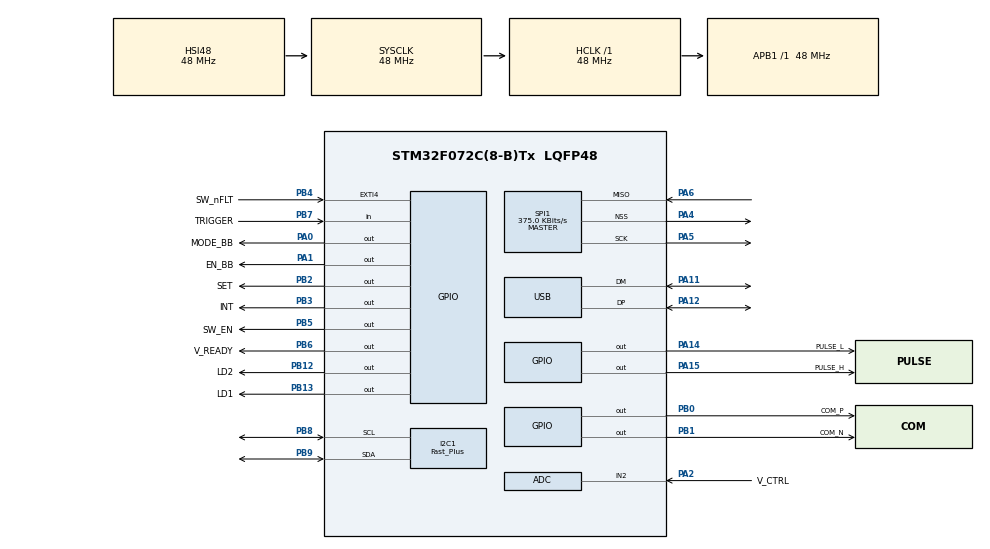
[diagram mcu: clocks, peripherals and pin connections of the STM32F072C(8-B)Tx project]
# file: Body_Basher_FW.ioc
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ADC.ContinuousConvMode=ENABLE
ADC.DMAContinuousRequests=DISABLE
ADC.Overrun=ADC_OVR_DATA_PRESERVED
ADC.Resolution=ADC_RESOLUTION_12B
ADC.SamplingTime=ADC_SAMPLETIME_7CYCLES_5
Dma.ADC.0.Direction=DMA_PERIPH_TO_MEMORY
Dma.ADC.0.Instance=DMA1_Channel1
Dma.ADC.0.MemDataAlignment=DMA_MDATAALIGN_HALFWORD
Dma.ADC.0.MemInc=DMA_MINC_ENABLE
Dma.ADC.0.Mode=DMA_CIRCULAR
Dma.ADC.0.PeriphDataAlignment=DMA_PDATAALIGN_HALFWORD
Dma.ADC.0.PeriphInc=DMA_PINC_DISABLE
Dma.ADC.0.Priority=DMA_PRIORITY_MEDIUM
Dma.Request0=ADC
I2C1.I2C_Speed_Mode=I2C_Fast_Plus
I2C1.Timing=0x00000001
Mcu.Family=STM32F0
Mcu.Name=STM32F072C(8-B)Tx
Mcu.Package=LQFP48
NVIC.DMA1_Channel1_IRQn=true\:0\:0\:false\:false\:true\:false\:true\:true
NVIC.EXTI4_15_IRQn=true\:0\:0\:false\:false\:true\:true\:true\:true
NVIC.TIM2_IRQn=true\:0\:0\:false\:false\:true\:true\:true\:true
NVIC.TIM3_IRQn=true\:0\:0\:false\:false\:true\:true\:true\:true
NVIC.USB_IRQn=true\:0\:0\:false\:false\:true\:false\:true\:true
PA0.GPIO_Label=MODE_BB
PA0.Signal=GPIO_Output
PA1.GPIO_Label=EN_BB
PA1.PinState=GPIO_PIN_SET
PA1.Signal=GPIO_Output
PA11.Mode=Device
PA11.Signal=USB_DM
PA12.Mode=Device
PA12.Signal=USB_DP
PA14.GPIO_Label=PULSE_L
PA14.GPIO_ModeDefaultOutputPP=GPIO_MODE_OUTPUT_OD
PA14.GPIO_PuPd=GPIO_NOPULL
PA14.GPIO_Speed=GPIO_SPEED_FREQ_HIGH
PA14.PinState=GPIO_PIN_SET
PA14.Signal=GPIO_Output
PA15.GPIO_Label=PULSE_H
PA15.GPIO_ModeDefaultOutputPP=GPIO_MODE_OUTPUT_OD
PA15.GPIO_PuPd=GPIO_NOPULL
PA15.GPIO_Speed=GPIO_SPEED_FREQ_HIGH
PA15.PinState=GPIO_PIN_SET
PA15.Signal=GPIO_Output
PA2.GPIO_Label=V_CTRL
PA2.Mode=IN2
PA2.Signal=ADC_IN2
PA4.Mode=NSS_Signal_Hard_Output
PA4.Signal=SPI1_NSS
PA5.Mode=RX_Only_Simplex_Unidirect_Master
PA5.Signal=SPI1_SCK
PA6.Mode=RX_Only_Simplex_Unidirect_Master
PA6.Signal=SPI1_MISO
PB0.GPIO_Label=COM_P
PB0.GPIO_ModeDefaultOutputPP=GPIO_MODE_OUTPUT_PP
PB0.GPIO_PuPd=GPIO_NOPULL
PB0.GPIO_Speed=GPIO_SPEED_FREQ_HIGH
PB0.PinState=GPIO_PIN_RESET
PB0.Signal=GPIO_Output
PB1.GPIO_Label=COM_N
PB1.GPIO_ModeDefaultOutputPP=GPIO_MODE_OUTPUT_PP
PB1.GPIO_PuPd=GPIO_NOPULL
PB1.GPIO_Speed=GPIO_SPEED_FREQ_HIGH
PB1.Signal=GPIO_Output
PB12.GPIO_Label=LD2
PB12.Signal=GPIO_Output
PB13.GPIO_Label=LD1
PB13.Signal=GPIO_Output
PB2.GPIO_Label=SET
PB2.GPIO_Speed=GPIO_SPEED_FREQ_HIGH
PB2.Signal=GPIO_Output
PB3.GPIO_Label=INT
PB3.GPIO_PuPd=GPIO_PULLDOWN
PB3.PinState=GPIO_PIN_RESET
PB3.Signal=GPIO_Output
PB4.GPIO_Label=SW_nFLT
PB4.GPIO_ModeDefaultEXTI=GPIO_MODE_IT_FALLING
PB4.Signal=GPXTI4
PB5.GPIO_Label=SW_EN
PB5.PinState=GPIO_PIN_SET
PB5.Signal=GPIO_Output
PB6.GPIO_FM6=SYSCFG_CFGR1_I2C_FMP_PB6
PB6.GPIO_Label=V_READY
PB6.GPIO_Speed=GPIO_SPEED_FREQ_HIGH
PB6.Signal=GPIO_Output
PB7.GPIO_Label=TRIGGER
PB7.Signal=GPIO_Input
PB8.Mode=I2C
PB8.Signal=I2C1_SCL
PB9.Mode=I2C
PB9.Signal=I2C1_SDA
ProjectManager.HeapSize=0x200
ProjectManager.StackSize=0x400
ProjectManager.TargetToolchain=STM32CubeIDE
RCC.AHBFreq_Value=48000000
RCC.APB1Freq_Value=48000000
RCC.APB1TimFreq_Value=48000000
RCC.HCLKFreq_Value=48000000
RCC.SYSCLKFreq_VALUE=48000000
RCC.SYSCLKSource=RCC_SYSCLKSOURCE_HSI48
SPI1.BaudRatePrescaler=SPI_BAUDRATEPRESCALER_128
SPI1.CalculateBaudRate=375.0 KBits/s
SPI1.DataSize=SPI_DATASIZE_16BIT
SPI1.Direction=SPI_DIRECTION_2LINES_RXONLY
SPI1.Mode=SPI_MODE_MASTER
SPI1.NSSPMode=SPI_NSS_PULSE_ENABLE
SPI1.VirtualNSS=VM_NSSHARD
SPI1.VirtualType=VM_MASTER
TIM2.ClockDivision=TIM_CLOCKDIVISION_DIV4
TIM2.Period=1000
TIM2.Prescaler=48
TIM2.TIM_MasterOutputTrigger=TIM_TRGO_UPDATE
TIM3.Period=5000
TIM3.Prescaler=47999
TIM3.TIM_MasterOutputTrigger=TIM_TRGO_UPDATE
USB_DEVICE.APP_RX_DATA_SIZE=512
USB_DEVICE.APP_TX_DATA_SIZE=512
USB_DEVICE.CLASS_NAME_FS=CDC
USB_DEVICE.MANUFACTURER_STRING=COSIC - KUL
USB_DEVICE.PID_CDC_FS=0x0e11
USB_DEVICE.PRODUCT_STRING_CDC_FS=COSIC Body Basher
USB_DEVICE.VID=0x1ab1
USB_DEVICE.VirtualMode=Cdc
USB_DEVICE.VirtualModeFS=Cdc_FS
VP_TIM2_VS_ClockSourceINT.Mode=Internal
VP_TIM3_VS_ClockSourceINT.Mode=Internal
VP_USB_DEVICE_VS_USB_DEVICE_CDC_FS.Mode=CDC_FS
VP_WWDG_VS_WWDG.Mode=WWDG_Activate
WWDG.Counter=0x7f
WWDG.EWIMode=WWDG_EWI_ENABLE
WWDG.Prescaler=WWDG_PRESCALER_8
WWDG.Window=0x7f
board=custom

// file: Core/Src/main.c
/* USER CODE BEGIN Header */
/**
 ******************************************************************************
 * @file           : main.c
 * @brief          : Main program body
 ******************************************************************************
 * @attention
 *
 * Copyright (c) 2024 STMicroelectronics.
 * All rights reserved.
 *
 * This software is licensed under terms that can be found in the LICENSE file
 * in the root directory of this software component.
 * If no LICENSE file comes with this software, it is provided AS-IS.
 *
 ******************************************************************************
 */
/* USER CODE END Header */
#include "main.h"
#include "usb_device.h"

/* USER CODE BEGIN Includes */
#include "usbd_cdc_if.h"
#include "terminal.h"
#include "fsm.h"
#include "utils.h"
/* USER CODE END Includes */

ADC_HandleTypeDef hadc;
DMA_HandleTypeDef hdma_adc;

I2C_HandleTypeDef hi2c1;

SPI_HandleTypeDef hspi1;

TIM_HandleTypeDef htim2;
TIM_HandleTypeDef htim3;

WWDG_HandleTypeDef hwwdg;

void SystemClock_Config(void);
static void MX_GPIO_Init(void);
static void MX_DMA_Init(void);
static void MX_ADC_Init(void);
static void MX_I2C1_Init(void);
static void MX_SPI1_Init(void);
static void MX_TIM3_Init(void);
static void MX_TIM2_Init(void);
static void MX_WWDG_Init(void);

/* USER CODE BEGIN 0 */
STATE state = ST_IDLE;
EVENT event = EV_NULL;
uint8_t errorCode = 0x00;

/* USER CODE END 0 */

int main(void)
{

  /* MCU Configuration--------------------------------------------------------*/

  /* Reset of all peripherals, Initializes the Flash interface and the Systick. */
  HAL_Init();

  /* Configure the system clock */
  SystemClock_Config();

  /* Initialize all configured peripherals */
  MX_GPIO_Init();
  MX_DMA_Init();
  MX_ADC_Init();
  MX_I2C1_Init();
  MX_SPI1_Init();
  MX_USB_DEVICE_Init();
  MX_TIM3_Init();
  MX_TIM2_Init();
//  MX_WWDG_Init();
  /* USER CODE BEGIN 2 */
    HAL_Delay(1000); //wait 1s for everyting to initialise
    toIdle(); //initialise device to idle state
    HAL_ADCEx_Calibration_Start(&hadc); //self-calibration of the on-chip ADC

    HAL_SPI_Receive(&hspi1, NULL, 1, 100); //start field-side ADC to normal mode
  /* USER CODE END 2 */

  /* Infinite loop */
  /* USER CODE BEGIN WHILE */
    MX_WWDG_Init();
    initTerminal(); //initialise terminal and print logo
    printPrompt();  //print first prompt
    while (1)
    {
    /* USER CODE END WHILE */

    /* USER CODE BEGIN 3 */
    	HAL_WWDG_Refresh(&hwwdg);
    	checkTerminal();
        switch (state) {
            case ST_IDLE:
//            	HAL_WWDG_Refresh(&hwwdg);
                //transitions
                switch (event) {
                    case EV_ARM:
//                        printArm();
                        toArming();
                        state = ST_ARMING;
                        break;
                    case EV_ERROR:
                        toError();
                        state = ST_ERROR;
                        break;
                    case EV_NULL:
                        break;
                    default:
                        printInvalid();
                        break;
                }
                break;
            case ST_ARMING:
                //transitions
                switch (event) {
                    case EV_DISARM:
//                        printDisarm();
                        toIdle();
                        state = ST_IDLE;
                        break;
                    case EV_VOLTAGE_READY:
                        toArmed();
                        state = ST_ARMED;
                        break;
                    case EV_ERROR:
//                        printDisarm();
                        toError();
                        state = ST_ERROR;
                        break;
                    case EV_NULL:
                        break;
                    default:
                        printInvalid();
                        break;
                }

                //Disable and reset timers used only in the arming state
                if (state != ST_ARMING){
                    HAL_TIM_Base_Stop_IT(&htim3);
                    __HAL_TIM_SET_COUNTER(&htim3, 0);
                    HAL_TIM_Base_Stop_IT(&htim2);
                    __HAL_TIM_SET_COUNTER(&htim2, 0);
                }
                break;
            case ST_ARMED:
                //transitions
                switch (event) {
                    case EV_ARM:
//                        printArm();
                        toArming();
                        state = ST_ARMING;
                        break;
                    case EV_DISARM:
//                        printDisarm();
                        toIdle();
                        state = ST_IDLE;
                        break;
                    case EV_ERROR:
//                        printDisarm();
                        toError();
                        state = ST_ERROR;
                        break;
                    case EV_NULL:
                        break;
                    default:
                        printInvalid();
                        break;
                }
                break;
//            case ST_INJECTING:
//
//                break;
            case ST_ERROR:
                //transitions
                switch (event) {
                    case EV_CLEAR_ERRROR:
                        toIdle();
                        state = ST_IDLE;
                        break;
                    case EV_NULL:
                        break;
                    case EV_ERROR:
                        toError();
                        state = ST_ERROR;
                        break;
                    default:
                        printInvalid();
                        break;
                }
                break;
            default:

                break;
        }
        event = EV_NULL;

    }
  /* USER CODE END 3 */
}

void SystemClock_Config(void)
{
  RCC_OscInitTypeDef RCC_OscInitStruct = {0};
  RCC_ClkInitTypeDef RCC_ClkInitStruct = {0};
  RCC_PeriphCLKInitTypeDef PeriphClkInit = {0};

  /** Initializes the RCC Oscillators according to the specified parameters
  * in the RCC_OscInitTypeDef structure.
  */
  RCC_OscInitStruct.OscillatorType = RCC_OSCILLATORTYPE_HSI|RCC_OSCILLATORTYPE_HSI14
                              |RCC_OSCILLATORTYPE_HSI48;
  RCC_OscInitStruct.HSIState = RCC_HSI_ON;
  RCC_OscInitStruct.HSI48State = RCC_HSI48_ON;
  RCC_OscInitStruct.HSI14State = RCC_HSI14_ON;
  RCC_OscInitStruct.HSICalibrationValue = RCC_HSICALIBRATION_DEFAULT;
  RCC_OscInitStruct.HSI14CalibrationValue = 16;
  RCC_OscInitStruct.PLL.PLLState = RCC_PLL_NONE;
  if (HAL_RCC_OscConfig(&RCC_OscInitStruct) != HAL_OK)
  {
    Error_Handler();
  }

  /** Initializes the CPU, AHB and APB buses clocks
  */
  RCC_ClkInitStruct.ClockType = RCC_CLOCKTYPE_HCLK|RCC_CLOCKTYPE_SYSCLK
                              |RCC_CLOCKTYPE_PCLK1;
  RCC_ClkInitStruct.SYSCLKSource = RCC_SYSCLKSOURCE_HSI48;
  RCC_ClkInitStruct.AHBCLKDivider = RCC_SYSCLK_DIV1;
  RCC_ClkInitStruct.APB1CLKDivider = RCC_HCLK_DIV1;

  if (HAL_RCC_ClockConfig(&RCC_ClkInitStruct, FLASH_LATENCY_1) != HAL_OK)
  {
    Error_Handler();
  }
  PeriphClkInit.PeriphClockSelection = RCC_PERIPHCLK_USB|RCC_PERIPHCLK_I2C1;
  PeriphClkInit.I2c1ClockSelection = RCC_I2C1CLKSOURCE_HSI;
  PeriphClkInit.UsbClockSelection = RCC_USBCLKSOURCE_HSI48;

  if (HAL_RCCEx_PeriphCLKConfig(&PeriphClkInit) != HAL_OK)
  {
    Error_Handler();
  }
}

static void MX_ADC_Init(void)
{

  ADC_ChannelConfTypeDef sConfig = {0};

  /** Configure the global features of the ADC (Clock, Resolution, Data Alignment and number of conversion)
  */
  hadc.Instance = ADC1;
  hadc.Init.ClockPrescaler = ADC_CLOCK_ASYNC_DIV1;
  hadc.Init.Resolution = ADC_RESOLUTION_12B;
  hadc.Init.DataAlign = ADC_DATAALIGN_RIGHT;
  hadc.Init.ScanConvMode = ADC_SCAN_DIRECTION_FORWARD;
  hadc.Init.EOCSelection = ADC_EOC_SINGLE_CONV;
  hadc.Init.LowPowerAutoWait = DISABLE;
  hadc.Init.LowPowerAutoPowerOff = DISABLE;
  hadc.Init.ContinuousConvMode = ENABLE;
  hadc.Init.DiscontinuousConvMode = DISABLE;
  hadc.Init.ExternalTrigConv = ADC_SOFTWARE_START;
  hadc.Init.ExternalTrigConvEdge = ADC_EXTERNALTRIGCONVEDGE_NONE;
  hadc.Init.DMAContinuousRequests = DISABLE;
  hadc.Init.Overrun = ADC_OVR_DATA_PRESERVED;
  if (HAL_ADC_Init(&hadc) != HAL_OK)
  {
    Error_Handler();
  }

  /** Configure for the selected ADC regular channel to be converted.
  */
  sConfig.Channel = ADC_CHANNEL_2;
  sConfig.Rank = ADC_RANK_CHANNEL_NUMBER;
  sConfig.SamplingTime = ADC_SAMPLETIME_7CYCLES_5;
  if (HAL_ADC_ConfigChannel(&hadc, &sConfig) != HAL_OK)
  {
    Error_Handler();
  }

}

static void MX_I2C1_Init(void)
{

  hi2c1.Instance = I2C1;
  hi2c1.Init.Timing = 0x00000001;
  hi2c1.Init.OwnAddress1 = 0;
  hi2c1.Init.AddressingMode = I2C_ADDRESSINGMODE_7BIT;
  hi2c1.Init.DualAddressMode = I2C_DUALADDRESS_DISABLE;
  hi2c1.Init.OwnAddress2 = 0;
  hi2c1.Init.OwnAddress2Masks = I2C_OA2_NOMASK;
  hi2c1.Init.GeneralCallMode = I2C_GENERALCALL_DISABLE;
  hi2c1.Init.NoStretchMode = I2C_NOSTRETCH_DISABLE;
  if (HAL_I2C_Init(&hi2c1) != HAL_OK)
  {
    Error_Handler();
  }

  /** Configure Analogue filter
  */
  if (HAL_I2CEx_ConfigAnalogFilter(&hi2c1, I2C_ANALOGFILTER_ENABLE) != HAL_OK)
  {
    Error_Handler();
  }

  /** Configure Digital filter
  */
  if (HAL_I2CEx_ConfigDigitalFilter(&hi2c1, 0) != HAL_OK)
  {
    Error_Handler();
  }

  /** I2C Fast mode Plus enable
  */
  __HAL_SYSCFG_FASTMODEPLUS_ENABLE(I2C_FASTMODEPLUS_I2C1);

}

static void MX_SPI1_Init(void)
{

  /* SPI1 parameter configuration*/
  hspi1.Instance = SPI1;
  hspi1.Init.Mode = SPI_MODE_MASTER;
  hspi1.Init.Direction = SPI_DIRECTION_2LINES_RXONLY;
  hspi1.Init.DataSize = SPI_DATASIZE_16BIT;
  hspi1.Init.CLKPolarity = SPI_POLARITY_LOW;
  hspi1.Init.CLKPhase = SPI_PHASE_1EDGE;
  hspi1.Init.NSS = SPI_NSS_HARD_OUTPUT;
  hspi1.Init.BaudRatePrescaler = SPI_BAUDRATEPRESCALER_128;
  hspi1.Init.FirstBit = SPI_FIRSTBIT_MSB;
  hspi1.Init.TIMode = SPI_TIMODE_DISABLE;
  hspi1.Init.CRCCalculation = SPI_CRCCALCULATION_DISABLE;
  hspi1.Init.CRCPolynomial = 7;
  hspi1.Init.CRCLength = SPI_CRC_LENGTH_DATASIZE;
  hspi1.Init.NSSPMode = SPI_NSS_PULSE_ENABLE;
  if (HAL_SPI_Init(&hspi1) != HAL_OK)
  {
    Error_Handler();
  }

}

static void MX_TIM2_Init(void)
{

  TIM_ClockConfigTypeDef sClockSourceConfig = {0};
  TIM_MasterConfigTypeDef sMasterConfig = {0};

  htim2.Instance = TIM2;
  htim2.Init.Prescaler = 48;
  htim2.Init.CounterMode = TIM_COUNTERMODE_UP;
  htim2.Init.Period = 1000;
  htim2.Init.ClockDivision = TIM_CLOCKDIVISION_DIV4;
  htim2.Init.AutoReloadPreload = TIM_AUTORELOAD_PRELOAD_DISABLE;
  if (HAL_TIM_Base_Init(&htim2) != HAL_OK)
  {
    Error_Handler();
  }
  sClockSourceConfig.ClockSource = TIM_CLOCKSOURCE_INTERNAL;
  if (HAL_TIM_ConfigClockSource(&htim2, &sClockSourceConfig) != HAL_OK)
  {
    Error_Handler();
  }
  sMasterConfig.MasterOutputTrigger = TIM_TRGO_UPDATE;
  sMasterConfig.MasterSlaveMode = TIM_MASTERSLAVEMODE_DISABLE;
  if (HAL_TIMEx_MasterConfigSynchronization(&htim2, &sMasterConfig) != HAL_OK)
  {
    Error_Handler();
  }

}

static void MX_TIM3_Init(void)
{

  TIM_ClockConfigTypeDef sClockSourceConfig = {0};
  TIM_MasterConfigTypeDef sMasterConfig = {0};

  htim3.Instance = TIM3;
  htim3.Init.Prescaler = 47999;
  htim3.Init.CounterMode = TIM_COUNTERMODE_UP;
  htim3.Init.Period = 5000;
  htim3.Init.ClockDivision = TIM_CLOCKDIVISION_DIV1;
  htim3.Init.AutoReloadPreload = TIM_AUTORELOAD_PRELOAD_DISABLE;
  if (HAL_TIM_Base_Init(&htim3) != HAL_OK)
  {
    Error_Handler();
  }
  sClockSourceConfig.ClockSource = TIM_CLOCKSOURCE_INTERNAL;
  if (HAL_TIM_ConfigClockSource(&htim3, &sClockSourceConfig) != HAL_OK)
  {
    Error_Handler();
  }
  sMasterConfig.MasterOutputTrigger = TIM_TRGO_UPDATE;
  sMasterConfig.MasterSlaveMode = TIM_MASTERSLAVEMODE_DISABLE;
  if (HAL_TIMEx_MasterConfigSynchronization(&htim3, &sMasterConfig) != HAL_OK)
  {
    Error_Handler();
  }

}

static void MX_WWDG_Init(void)
{

  hwwdg.Instance = WWDG;
  hwwdg.Init.Prescaler = WWDG_PRESCALER_8;
  hwwdg.Init.Window = 0x7f;
  hwwdg.Init.Counter = 0x7f;
  hwwdg.Init.EWIMode = WWDG_EWI_ENABLE;
  if (HAL_WWDG_Init(&hwwdg) != HAL_OK)
  {
    Error_Handler();
  }

}

static void MX_DMA_Init(void)
{

  /* DMA controller clock enable */
  __HAL_RCC_DMA1_CLK_ENABLE();

  /* DMA interrupt init */
  /* DMA1_Channel1_IRQn interrupt configuration */
  HAL_NVIC_SetPriority(DMA1_Channel1_IRQn, 0, 0);
  HAL_NVIC_EnableIRQ(DMA1_Channel1_IRQn);

}

static void MX_GPIO_Init(void)
{
  GPIO_InitTypeDef GPIO_InitStruct = {0};

  /* GPIO Ports Clock Enable */
  __HAL_RCC_GPIOA_CLK_ENABLE();
  __HAL_RCC_GPIOB_CLK_ENABLE();

  /*Configure GPIO pin Output Level */
  HAL_GPIO_WritePin(MODE_BB_GPIO_Port, MODE_BB_Pin, GPIO_PIN_RESET);

  /*Configure GPIO pin Output Level */
  HAL_GPIO_WritePin(GPIOA, EN_BB_Pin|PULSE_L_Pin|PULSE_H_Pin, GPIO_PIN_SET);

  /*Configure GPIO pin Output Level */
  HAL_GPIO_WritePin(GPIOB, COM_P_Pin|COM_N_Pin|SET_Pin|LD2_Pin
                          |LD1_Pin|INT_Pin|V_READY_Pin, GPIO_PIN_RESET);

  /*Configure GPIO pin Output Level */
  HAL_GPIO_WritePin(SW_EN_GPIO_Port, SW_EN_Pin, GPIO_PIN_SET);

  /*Configure GPIO pins : MODE_BB_Pin EN_BB_Pin */
  GPIO_InitStruct.Pin = MODE_BB_Pin|EN_BB_Pin;
  GPIO_InitStruct.Mode = GPIO_MODE_OUTPUT_PP;
  GPIO_InitStruct.Pull = GPIO_NOPULL;
  GPIO_InitStruct.Speed = GPIO_SPEED_FREQ_LOW;
  HAL_GPIO_Init(GPIOA, &GPIO_InitStruct);

  /*Configure GPIO pins : COM_P_Pin COM_N_Pin SET_Pin V_READY_Pin */
  GPIO_InitStruct.Pin = COM_P_Pin|COM_N_Pin|SET_Pin|V_READY_Pin;
  GPIO_InitStruct.Mode = GPIO_MODE_OUTPUT_PP;
  GPIO_InitStruct.Pull = GPIO_NOPULL;
  GPIO_InitStruct.Speed = GPIO_SPEED_FREQ_HIGH;
  HAL_GPIO_Init(GPIOB, &GPIO_InitStruct);

  /*Configure GPIO pins : LD2_Pin LD1_Pin SW_EN_Pin */
  GPIO_InitStruct.Pin = LD2_Pin|LD1_Pin|SW_EN_Pin;
  GPIO_InitStruct.Mode = GPIO_MODE_OUTPUT_PP;
  GPIO_InitStruct.Pull = GPIO_NOPULL;
  GPIO_InitStruct.Speed = GPIO_SPEED_FREQ_LOW;
  HAL_GPIO_Init(GPIOB, &GPIO_InitStruct);

  /*Configure GPIO pins : PULSE_L_Pin PULSE_H_Pin */
  GPIO_InitStruct.Pin = PULSE_L_Pin|PULSE_H_Pin;
  GPIO_InitStruct.Mode = GPIO_MODE_OUTPUT_OD;
  GPIO_InitStruct.Pull = GPIO_NOPULL;
  GPIO_InitStruct.Speed = GPIO_SPEED_FREQ_HIGH;
  HAL_GPIO_Init(GPIOA, &GPIO_InitStruct);

  /*Configure GPIO pin : INT_Pin */
  GPIO_InitStruct.Pin = INT_Pin;
  GPIO_InitStruct.Mode = GPIO_MODE_OUTPUT_PP;
  GPIO_InitStruct.Pull = GPIO_PULLDOWN;
  GPIO_InitStruct.Speed = GPIO_SPEED_FREQ_LOW;
  HAL_GPIO_Init(INT_GPIO_Port, &GPIO_InitStruct);

  /*Configure GPIO pin : SW_nFLT_Pin */
  GPIO_InitStruct.Pin = SW_nFLT_Pin;
  GPIO_InitStruct.Mode = GPIO_MODE_IT_FALLING;
  GPIO_InitStruct.Pull = GPIO_NOPULL;
  HAL_GPIO_Init(SW_nFLT_GPIO_Port, &GPIO_InitStruct);

  /*Configure GPIO pin : TRIGGER_Pin */
  GPIO_InitStruct.Pin = TRIGGER_Pin;
  GPIO_InitStruct.Mode = GPIO_MODE_INPUT;
  GPIO_InitStruct.Pull = GPIO_NOPULL;
  HAL_GPIO_Init(TRIGGER_GPIO_Port, &GPIO_InitStruct);

  /**/
  HAL_I2CEx_EnableFastModePlus(SYSCFG_CFGR1_I2C_FMP_PB6);

  /* EXTI interrupt init*/
  HAL_NVIC_SetPriority(EXTI4_15_IRQn, 0, 0);
  HAL_NVIC_EnableIRQ(EXTI4_15_IRQn);

}

void Error_Handler(void)
{
    __disable_irq();
    while (1)
    {
    }
}
